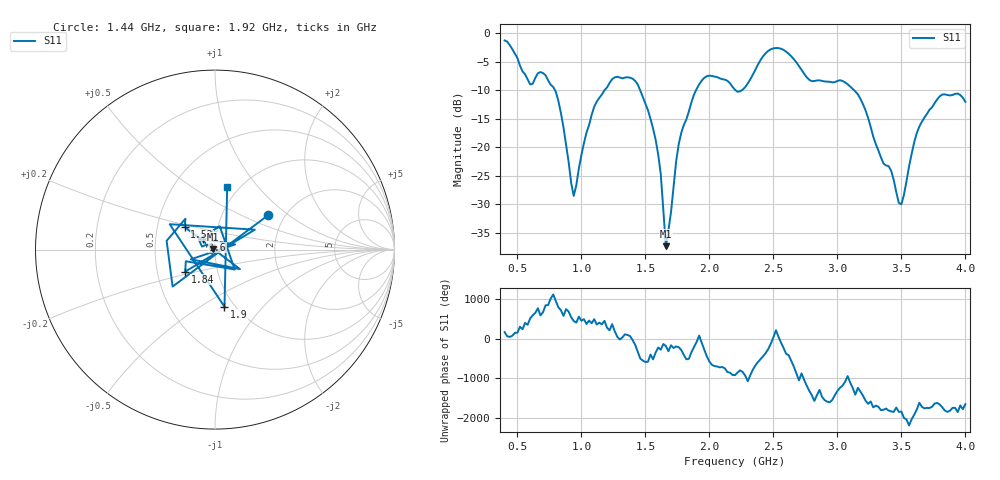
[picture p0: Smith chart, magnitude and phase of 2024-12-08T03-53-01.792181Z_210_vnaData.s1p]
!Created with skrf (http://scikit-rf.org).
# Hz S RI R 50.0
!freq ReS11 ImS11
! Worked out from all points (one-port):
!   181 points, 400 MHz to 4 GHz, reference 50 ohm
!   lowest |S11| = -37.4 dB at 1.66 GHz (marker M1), VSWR 1.03, Z = 48.7 + j0.0816 ohm
!   |S11| at or under -10 dB: 792.9 MHz to 1.182 GHz (388.6 MHz wide, 39.4 % of centre); 1.458 GHz to 1.896 GHz (437.8 MHz wide, 26.1 % of centre); 3.129 GHz to end of sweep (the widest 3 of 4)
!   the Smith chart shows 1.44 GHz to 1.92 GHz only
!   S11 on the Smith chart (normalised r, x): 1.44 GHz: 1.65, +0.73; 1.52 GHz: 0.69, +0.18; 1.6 GHz: 0.87, +0.10; 1.84 GHz: 0.70, -0.18; 1.9 GHz: 0.90, -0.64; 1.92 GHz: 0.88, +0.70
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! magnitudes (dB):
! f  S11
! 400 MHz  -1.3
! 600 MHz  -9.0
! 720 MHz  -7.4
! 800 MHz  -10.3
! 860 MHz  -16.6
! 940 MHz  -28.6
! 1.1 GHz  -12.9
! 1.3 GHz  -7.8
! 1.44 GHz  -9.0
! 1.52 GHz  -13.5
! 1.6 GHz  -21.3
! 1.62 GHz  -24.7
! 1.66 GHz  -37.4
! 1.76 GHz  -19.5
! 1.84 GHz  -13.7
! 1.9 GHz  -9.8
! 1.92 GHz  -9.0
! 2.2 GHz  -9.9
! 2.48 GHz  -2.8
! 2.66 GHz  -4.6
! 2.8 GHz  -8.5
! 3.1 GHz  -9.4
! 3.42 GHz  -24.1
! 3.48 GHz  -29.8
! 3.56 GHz  -23.4
! 3.64 GHz  -16.4
! 3.8 GHz  -11.1
! 4 GHz  -12.1
